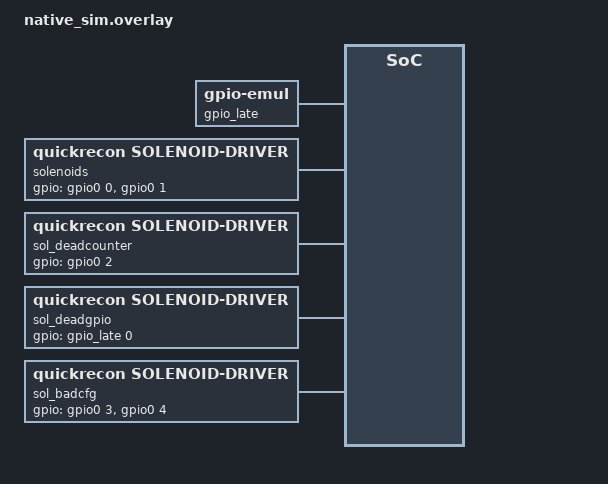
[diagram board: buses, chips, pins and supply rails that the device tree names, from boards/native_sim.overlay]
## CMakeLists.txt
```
cmake_minimum_required(VERSION 3.20.0)

# Point DTS_ROOT at the Firmware root so the quickrecon,solenoid-driver binding
# (dts/bindings/) resolves for the test overlay's solenoid nodes.
set(DTS_ROOT ${CMAKE_CURRENT_SOURCE_DIR}/../..)
find_package(Zephyr REQUIRED HINTS $ENV{ZEPHYR_BASE})
project(test_solenoid_driver)

target_sources(app PRIVATE
    src/main.c
)
target_include_directories(app PRIVATE
    ${CMAKE_CURRENT_SOURCE_DIR}/../../include
)

# Build the real solenoid driver under test the same way the app does (its
# CMakeLists adds solenoid.c to `app` when CONFIG_SOLENOID is set).
add_subdirectory(${CMAKE_CURRENT_SOURCE_DIR}/../../drivers/solenoid
                 ${CMAKE_CURRENT_BINARY_DIR}/solenoid)
```

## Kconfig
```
# Pull in the board-local solenoid driver's Kconfig (defines CONFIG_SOLENOID
# and its init-priority / log-level / current-check symbols) so this test
# builds the real driver under test.
rsource "../../drivers/solenoid/Kconfig"

source "Kconfig.zephyr"
```

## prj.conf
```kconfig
CONFIG_ZTEST=y
CONFIG_LOG=y

# GPIO (emulated) + counter (native-sim) back the solenoid driver.
CONFIG_GPIO=y
CONFIG_COUNTER=y

# errors.h (included by solenoid.c for OP_ERROR_DETAIL) pulls in zbus types;
# op_error_publish itself is stubbed in the test binary.
CONFIG_ZBUS=y

# The real solenoid driver under test. Current-check stays off (default) so the
# plain GPIO/deadman paths are what get exercised here.
CONFIG_SOLENOID=y
```

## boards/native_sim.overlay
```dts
/* Test topology for drivers/solenoid/solenoid.c coverage.
 *
 * A single "good" solenoid instance drives the runtime paths (fire, off,
 * all-off, re-arm, clamp, channel count, out-of-range) against the emulated
 * gpio0 controller and the native_sim counter0 deadman timer.
 *
 * Three fault instances drive solenoid_init()'s error arms:
 *   - sol_deadcounter: its counter phandle points at a never-initialised
 *     (deferred) GPIO device, so device_is_ready(counter) is false and init
 *     returns -ENODEV on the counter check.
 *   - sol_deadgpio:    counter is ready (counter0) but its channel GPIO lives
 *     on the deferred device, so gpio_is_ready_dt() is false and init returns
 *     -ENODEV on the GPIO check.
 *   - sol_badcfg:      counter and GPIO are both ready, but the channel is
 *     GPIO_OPEN_DRAIN, which gpio_emul rejects from gpio_pin_configure_dt()
 *     with -ENOTSUP — the configure-failure arm. This one runs (and fails) at
 *     boot; the others are deferred and driven via device_init() from the test.
 *
 * gpio_emul cannot fail a pin *write* (port_set always returns 0), so the
 * runtime gpio_pin_set_dt() failure arms in solenoid_fire/off/all_off are not
 * reachable here — see the test file's note.
 */

/ {
    /* Deferred, never-initialised GPIO controller: device_is_ready() == false.
     * Reused as both a not-ready "counter" (via phandle) and a not-ready GPIO
     * port to reach solenoid_init()'s two -ENODEV arms. */
    gpio_late: gpio_late {
        compatible = "zephyr,gpio-emul";
        gpio-controller;
        #gpio-cells = <2>;
        ngpios = <8>;
        rising-edge;
        falling-edge;
        high-level;
        low-level;
        zephyr,deferred-init;
        status = "okay";
    };

    /* Good instance under test. */
    solenoids: solenoids {
        compatible = "quickrecon,solenoid-driver";
        gpios = <&gpio0 0 GPIO_ACTIVE_HIGH>,
                <&gpio0 1 GPIO_ACTIVE_HIGH>;
        counter = <&counter0>;
        max-on-time-us = <100000>;
    };

    /* Counter not ready -> solenoid_init() -ENODEV (counter check). Deferred
     * because it depends on the deferred gpio_late device via the counter
     * phandle. */
    sol_deadcounter: sol-deadcounter {
        compatible = "quickrecon,solenoid-driver";
        gpios = <&gpio0 2 GPIO_ACTIVE_HIGH>;
        counter = <&gpio_late>;
        max-on-time-us = <100000>;
        zephyr,deferred-init;
    };

    /* Counter ready, channel GPIO not ready -> solenoid_init() -ENODEV (GPIO
     * check). Deferred because the channel GPIO lives on the deferred device. */
    sol_deadgpio: sol-deadgpio {
        compatible = "quickrecon,solenoid-driver";
        gpios = <&gpio_late 0 GPIO_ACTIVE_HIGH>;
        counter = <&counter0>;
        max-on-time-us = <100000>;
        zephyr,deferred-init;
    };

    /* Channel-0 GPIO configure fails (OPEN_DRAIN -> -ENOTSUP). Both counter and
     * GPIO are ready, so init runs and fails at boot. Two channels so the init
     * loop's `&& (0 == rc)` guard exits early on the second iteration (channel
     * 1 is never configured), exercising that short-circuit arm. */
    sol_badcfg: sol-badcfg {
        compatible = "quickrecon,solenoid-driver";
        gpios = <&gpio0 3 (GPIO_ACTIVE_HIGH | GPIO_OPEN_DRAIN)>,
                <&gpio0 4 GPIO_ACTIVE_HIGH>;
        counter = <&counter0>;
        max-on-time-us = <100000>;
    };
};
```

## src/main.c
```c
/**
 * @file main.c
 * @brief Unit tests for the solenoid driver (drivers/solenoid/solenoid.c).
 *
 * Instantiates the real quickrecon,solenoid-driver against the emulated gpio0
 * controller and the native_sim counter0 deadman timer, plus a small instance
 * zoo (see boards/native_sim.overlay) that drives solenoid_init()'s error
 * arms. The tests cover the runtime paths (fire, off, all-off, re-arm, clamp,
 * out-of-range, channel count) and every init failure arm reachable in
 * native_sim.
 *
 * Not reachable here: the runtime gpio_pin_set_dt() failure arms in
 * solenoid_fire/off/all_off. gpio_emul (and quickrecon,gpio-sim) always return
 * 0 from a pin write — neither backend can inject a write failure, only a
 * configure failure via GPIO_OPEN_DRAIN. Those defensive OP_ERROR arms fire
 * only on a real GPIO controller HAL error.
 */

#include <zephyr/ztest.h>
#include <zephyr/kernel.h>
#include <zephyr/device.h>
#include <errno.h>

#include "solenoid.h"
#include "errors.h"

/* solenoid.c reports GPIO errors via OP_ERROR_DETAIL -> op_error_publish. This
 * test does not link errors.c, so provide a no-op stub. */
void op_error_publish(OpError_t code, uint32_t detail)
{
    ARG_UNUSED(code);
    ARG_UNUSED(detail);
}

static const uint32_t FIRE_US = 50000U;         /* well under the 100 ms cap */
static const uint32_t FIRE_US_2 = 60000U;       /* re-arm duration */
static const uint32_t OVER_CAP_US = 200000U;    /* > max-on-time-us -> clamps */
static const uint8_t GOOD_CHANNELS = 2U;
static const uint8_t BAD_CHANNEL = 5U;          /* >= num_channels */
static const uint8_t WAY_OUT_CHANNEL = 99U;

static const struct device *good_dev =
    DEVICE_DT_GET(DT_NODELABEL(solenoids));
static const struct device *deadcounter_dev =
    DEVICE_DT_GET(DT_NODELABEL(sol_deadcounter));
static const struct device *deadgpio_dev =
    DEVICE_DT_GET(DT_NODELABEL(sol_deadgpio));
static const struct device *badcfg_dev =
    DEVICE_DT_GET(DT_NODELABEL(sol_badcfg));

/** @brief Suite: solenoid driver runtime + init error arms. */
ZTEST_SUITE(solenoid_driver, NULL, NULL, NULL, NULL, NULL);

/** @brief The good instance initialised (counter + all GPIOs ready + configured). */
ZTEST(solenoid_driver, test_init_success)
{
    zassert_true(device_is_ready(good_dev),
                 "good solenoid instance must be ready");
}

/** @brief Channel count reflects the two DT gpios entries. */
ZTEST(solenoid_driver, test_channel_count)
{
    zassert_equal(solenoid_channel_count(good_dev), GOOD_CHANNELS);
}

/** @brief Fire then off on a valid channel both succeed. */
ZTEST(solenoid_driver, test_fire_then_off)
{
    zassert_equal(solenoid_fire(good_dev, 0U, FIRE_US), 0);
    solenoid_off(good_dev, 0U);
    solenoid_all_off(good_dev);
}

/** @brief A duration above max-on-time-us is clamped, not rejected. */
ZTEST(solenoid_driver, test_fire_clamps_duration)
{
    zassert_equal(solenoid_fire(good_dev, 0U, OVER_CAP_US), 0);
    solenoid_all_off(good_dev);
}

/** @brief Firing an already-armed channel re-arms the deadman timer cleanly. */
ZTEST(solenoid_driver, test_fire_rearm)
{
    zassert_equal(solenoid_fire(good_dev, 0U, FIRE_US), 0);
    zassert_equal(solenoid_fire(good_dev, 0U, FIRE_US_2), 0);
    solenoid_all_off(good_dev);
}

/** @brief Firing an out-of-range channel returns -EINVAL. */
ZTEST(solenoid_driver, test_fire_invalid_channel)
{
    zassert_equal(solenoid_fire(good_dev, BAD_CHANNEL, FIRE_US), -EINVAL);
}

/** @brief A zero duration routes through solenoid_off (no arm), returning 0. */
ZTEST(solenoid_driver, test_fire_zero_duration_is_off)
{
    zassert_equal(solenoid_fire(good_dev, 0U, 0U), 0);
}

/** @brief solenoid_off on an out-of-range channel is a silent no-op. */
ZTEST(solenoid_driver, test_off_out_of_range_noop)
{
    solenoid_off(good_dev, WAY_OUT_CHANNEL);
    /* Reaching here without a fault is the assertion. */
    zassert_true(true);
}

/** @brief solenoid_all_off stops the deadman and drives every channel low. */
ZTEST(solenoid_driver, test_all_off)
{
    zassert_equal(solenoid_fire(good_dev, 1U, FIRE_US), 0);
    solenoid_all_off(good_dev);
    /* Idempotent: a second all-off with nothing armed is still safe. */
    solenoid_all_off(good_dev);
}

/** @brief init returns -ENODEV when the deadman counter is not ready. */
ZTEST(solenoid_driver, test_init_counter_not_ready)
{
    zassert_equal(device_init(deadcounter_dev), -ENODEV);
    zassert_false(device_is_ready(deadcounter_dev));
}

/** @brief init returns -ENODEV when a channel GPIO is not ready. */
ZTEST(solenoid_driver, test_init_gpio_not_ready)
{
    zassert_equal(device_init(deadgpio_dev), -ENODEV);
    zassert_false(device_is_ready(deadgpio_dev));
}

/** @brief init fails at boot when a channel GPIO cannot be configured. */
ZTEST(solenoid_driver, test_init_configure_fails)
{
    /* sol_badcfg is non-deferred: its GPIO_OPEN_DRAIN channel makes
     * gpio_pin_configure_dt() return -ENOTSUP at boot, so init failed and the
     * device is not ready. */
    zassert_false(device_is_ready(badcfg_dev),
                  "configure failure must leave the device not-ready");
}
```
